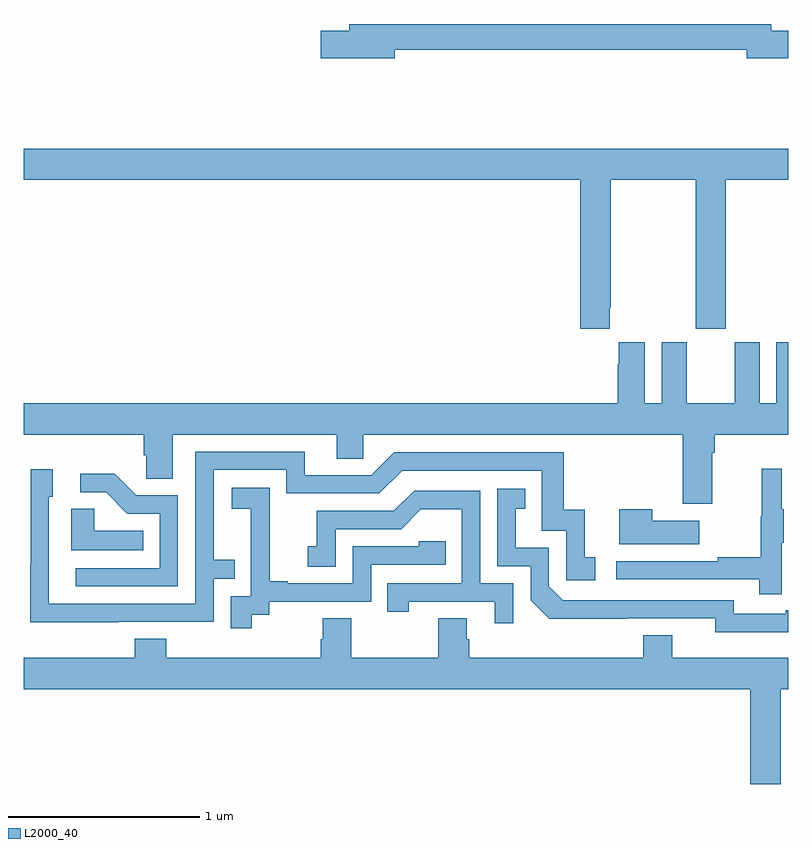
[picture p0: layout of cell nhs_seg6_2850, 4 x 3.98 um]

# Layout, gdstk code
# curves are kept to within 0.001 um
import gdstk
lib = gdstk.Library(unit=1e-6, precision=1e-09)
def P(c, l, *ps):  # polygons
    for p in ps: c.add(gdstk.Polygon(p, *l))
L2000_40 = (2000, 40)

nhs_seg6_2850 = lib.new_cell('nhs_seg6_2850')
P(nhs_seg6_2850, L2000_40, [(280.942,957.34),(282.782,957.34),(282.782,957.298),(283,957.298),(283,957.44),(282.91,957.44),(282.91,957.476),(280.703,957.476),(280.703,957.44),(280.554,957.44),(280.554,957.298),(280.942,957.298)],
  [(282.067,955.993),(282.072,955.993),(282.072,956.66),(282.517,956.66),(282.517,955.881),(282.672,955.881),(282.672,956.66),(283,956.66),(283,956.824),(279,956.824),(279,956.66),(281.912,956.66),(281.912,955.881),(282.067,955.881)],
  [(282.601,955.232),(282.614,955.232),(282.614,955.328),(283,955.328),(283,955.81),(282.938,955.81),(282.938,955.492),(282.85,955.492),(282.85,955.81),(282.719,955.81),(282.719,955.492),(282.469,955.492),(282.469,955.81),(282.338,955.81),(282.338,955.492),(282.25,955.492),(282.25,955.81),(282.113,955.81),(282.113,955.697),(282.107,955.697),(282.107,955.492),(279,955.492),(279,955.328),(279.629,955.328),(279.629,955.219),(279.642,955.219),(279.642,955.096),(279.781,955.096),(279.781,955.328),(280.637,955.328),(280.637,955.201),(280.776,955.201),(280.776,955.328),(282.449,955.328),(282.449,954.966),(282.601,954.966)],
  [(279.497,954.348),(279.993,954.348),(279.993,954.573),(280.103,954.573),(280.103,954.674),(279.993,954.674),(279.993,955.143),(280.374,955.143),(280.374,955.02),(280.86,955.02),(280.98,955.14),(281.709,955.14),(281.709,954.825),(281.838,954.825),(281.838,954.567),(281.989,954.567),(281.989,954.687),(281.936,954.687),(281.936,954.934),(281.825,954.934),(281.825,955.236),(280.938,955.236),(280.818,955.116),(280.471,955.116),(280.471,955.239),(279.897,955.239),(279.897,954.444),(279.132,954.444),(279.132,955.002),(279.151,955.002),(279.151,955.147),(279.036,955.147),(279.036,954.653),(279.034,954.653),(279.034,954.347)],
  [(282.965,954.763),(282.976,954.763),(282.976,954.937),(282.965,954.937),(282.965,955.15),(282.862,955.15),(282.862,954.9),(282.855,954.9),(282.855,954.686),(282.631,954.686),(282.631,954.666),(282.099,954.666),(282.099,954.57),(282.847,954.57),(282.847,954.492),(282.965,954.492)],
  [(279.807,955.011),(279.588,955.011),(279.475,955.124),(279.297,955.124),(279.297,955.026),(279.431,955.026),(279.542,954.915),(279.711,954.915),(279.711,954.63),(279.273,954.63),(279.273,954.534),(279.807,954.534)],
  [(280.192,954.385),(280.284,954.385),(280.284,954.453),(280.818,954.453),(280.818,954.648),(281.207,954.648),(281.207,954.771),(281.067,954.771),(281.067,954.744),(280.722,954.744),(280.722,954.549),(280.381,954.549),(280.381,954.562),(280.286,954.562),(280.286,954.845),(280.287,954.845),(280.287,955.051),(280.089,955.051),(280.089,954.941),(280.187,954.941),(280.187,954.713),(280.188,954.713),(280.188,954.483),(280.083,954.483),(280.083,954.315),(280.192,954.315)],
  [(282.986,954.294),(283,954.294),(283,954.41),(282.986,954.41),(282.986,954.39),(282.714,954.39),(282.714,954.462),(281.82,954.462),(281.748,954.534),(281.748,954.735),(281.575,954.735),(281.575,954.939),(281.624,954.939),(281.624,955.045),(281.478,955.045),(281.478,954.639),(281.652,954.639),(281.652,954.462),(281.75,954.365),(282.618,954.366),(282.618,954.293)],
  [(281.562,954.549),(281.388,954.549),(281.388,955.035),(281.042,955.035),(280.937,954.93),(280.534,954.93),(280.534,954.745),(280.485,954.745),(280.485,954.636),(280.632,954.636),(280.632,954.834),(280.974,954.834),(281.078,954.938),(281.292,954.938),(281.292,954.549),(280.903,954.549),(280.903,954.402),(281.014,954.402),(281.014,954.453),(281.465,954.453),(281.465,954.342),(281.562,954.342)],
  [(279.626,954.826),(279.369,954.826),(279.369,954.941),(279.248,954.941),(279.248,954.722),(279.626,954.722)],
  [(282.535,954.877),(282.287,954.877),(282.287,954.937),(282.116,954.937),(282.116,954.755),(282.535,954.755)],
  [(282.96,953.996),(283,953.996),(283,954.16),(282.394,954.16),(282.394,954.277),(282.242,954.277),(282.242,954.16),(281.33,954.16),(281.33,954.258),(281.317,954.258),(281.317,954.368),(281.17,954.368),(281.17,954.16),(280.713,954.16),(280.713,954.368),(280.565,954.368),(280.565,954.258),(280.553,954.258),(280.553,954.16),(279.746,954.16),(279.746,954.259),(279.581,954.259),(279.581,954.16),(279,954.16),(279,953.996),(282.8,953.996),(282.8,953.5),(282.96,953.5)])

lib.write_gds('nhs_seg6_2850.gds')
